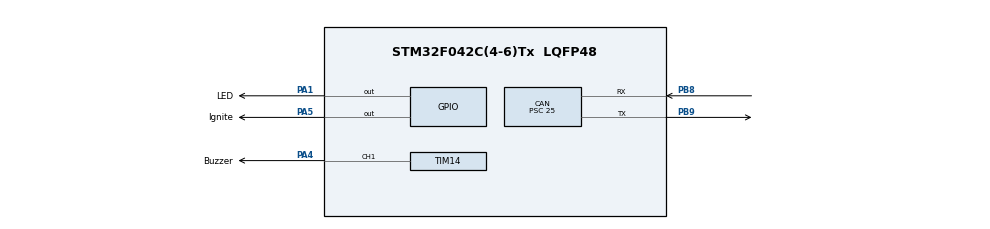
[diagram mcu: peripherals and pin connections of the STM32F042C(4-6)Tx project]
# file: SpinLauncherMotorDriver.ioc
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CAN.BS1=CAN_BS1_13TQ
CAN.BS2=CAN_BS2_2TQ
CAN.CalculateTimeQuantum=3125.0
CAN.Prescaler=25
Mcu.Family=STM32F0
Mcu.Name=STM32F042C(4-6)Tx
Mcu.Package=LQFP48
NVIC.CEC_CAN_IRQn=true\:1\:0\:true\:false\:true\:true\:true
PA1.GPIO_Label=LED
PA1.GPIO_ModeDefaultOutputPP=GPIO_MODE_OUTPUT_PP
PA1.GPIO_PuPd=GPIO_NOPULL
PA1.PinState=GPIO_PIN_RESET
PA1.Signal=GPIO_Output
PA4.GPIO_Label=Buzzer
PA4.Signal=S_TIM14_CH1
PA5.GPIO_Label=Ignite
PA5.Signal=GPIO_Output
PB8.GPIO_PuPd=GPIO_PULLUP
PB8.Mode=Master
PB8.Signal=CAN_RX
PB9.Mode=Master
PB9.Signal=CAN_TX
ProjectManager.HeapSize=0x200
ProjectManager.StackSize=0x400
ProjectManager.TargetToolchain=STM32CubeIDE
SH.S_TIM14_CH1.0=TIM14_CH1,PWM Generation1 CH1
TIM14.Channel=TIM_CHANNEL_1
TIM14.Period=1000
TIM14.Prescaler=4
VP_TIM14_VS_ClockSourceINT.Mode=Enable_Timer
board=custom

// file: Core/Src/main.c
/* USER CODE BEGIN Header */
/**
  ******************************************************************************
  * @file           : main.c
  * @brief          : Main program body
  ******************************************************************************
  * @attention
  *
  * <h2><center>&copy; Copyright (c) 2020 STMicroelectronics.
  * All rights reserved.</center></h2>
  *
  * This software component is licensed by ST under BSD 3-Clause license,
  * the "License"; You may not use this file except in compliance with the
  * License. You may obtain a copy of the License at:
  *                        opensource.org/licenses/BSD-3-Clause
  *
  ******************************************************************************
  */
/* USER CODE END Header */

#include "main.h"

CAN_HandleTypeDef hcan;

TIM_HandleTypeDef htim14;

void SystemClock_Config(void);
static void MX_GPIO_Init(void);
static void MX_CAN_Init(void);
static void MX_TIM14_Init(void);
/* USER CODE BEGIN PFP */
void CAN_Send(uint8_t *data, int length);
/* USER CODE END PFP */

/* USER CODE BEGIN 0 */
CAN_TxHeaderTypeDef   CanTxHeader;
CAN_RxHeaderTypeDef   CanRxHeader;
uint8_t               CanRxData[8];
uint32_t              CanTxMailbox;

#define ARM_PERIOD          10000
#define SEND_STATE_INTERVAL 500
#define ALIVE_INTERVAL      2000

#define LOOP_PERIOD         50

typedef enum {
	DISARMED,
	ARMED
} State;

State state     = DISARMED;
State pre_state = DISARMED;

int alive_timer      = 0;

/* USER CODE END 0 */

int main(void)
{

  /* MCU Configuration--------------------------------------------------------*/

  /* Reset of all peripherals, Initializes the Flash interface and the Systick. */
  HAL_Init();

  /* Configure the system clock */
  SystemClock_Config();

  /* Initialize all configured peripherals */
  MX_GPIO_Init();
  MX_CAN_Init();
  MX_TIM14_Init();
  /* USER CODE BEGIN 2 */

  HAL_GPIO_WritePin(Ignite_GPIO_Port, Ignite_Pin, GPIO_PIN_RESET);
  HAL_GPIO_WritePin(Buzzer_GPIO_Port, Buzzer_Pin, GPIO_PIN_RESET);

//  HAL_Delay(1000);
//
//  HAL_GPIO_WritePin(Ignite_GPIO_Port, Ignite_Pin, GPIO_PIN_SET);
//
//  HAL_Delay(1000);
//
//  HAL_GPIO_WritePin(Ignite_GPIO_Port, Ignite_Pin, GPIO_PIN_RESET);

  if (HAL_TIM_PWM_Start(&htim14, TIM_CHANNEL_1) != HAL_OK) { Error_Handler(); }

  /* USER CODE END 2 */

  /* Infinite loop */
  /* USER CODE BEGIN WHILE */
  while (1)
  {
	  // Spin
	  if (state == ARMED && pre_state != ARMED) {
		  HAL_GPIO_WritePin(Ignite_GPIO_Port, Ignite_Pin, GPIO_PIN_SET);
		  __HAL_TIM_SET_COMPARE(&htim14, TIM_CHANNEL_1, 500);
	  }

	  if (state != ARMED) {
		  HAL_GPIO_WritePin(Ignite_GPIO_Port, Ignite_Pin, GPIO_PIN_RESET);
		  if (state == ARMED) {
			  if ((alive_timer / 2) % 5 == 0)
				  __HAL_TIM_SET_COMPARE(&htim14, TIM_CHANNEL_1, 500);
			  else
				  __HAL_TIM_SET_COMPARE(&htim14, TIM_CHANNEL_1, 0);

		  }
		  else __HAL_TIM_SET_COMPARE(&htim14, TIM_CHANNEL_1, 0);
	  }

	  // Check heart beat
	  if (alive_timer > ALIVE_INTERVAL / LOOP_PERIOD) {
	 	  state = DISARMED;
	  }

	  pre_state = state;
	  alive_timer++;

	  HAL_GPIO_TogglePin(LED_GPIO_Port, LED_Pin);

	  HAL_Delay(LOOP_PERIOD);
    /* USER CODE END WHILE */

  }
}

void SystemClock_Config(void)
{
  RCC_OscInitTypeDef RCC_OscInitStruct = {0};
  RCC_ClkInitTypeDef RCC_ClkInitStruct = {0};

  /** Initializes the CPU, AHB and APB busses clocks
  */
  RCC_OscInitStruct.OscillatorType = RCC_OSCILLATORTYPE_HSI;
  RCC_OscInitStruct.HSIState = RCC_HSI_ON;
  RCC_OscInitStruct.HSICalibrationValue = RCC_HSICALIBRATION_DEFAULT;
  RCC_OscInitStruct.PLL.PLLState = RCC_PLL_NONE;
  if (HAL_RCC_OscConfig(&RCC_OscInitStruct) != HAL_OK)
  {
    Error_Handler();
  }
  /** Initializes the CPU, AHB and APB busses clocks
  */
  RCC_ClkInitStruct.ClockType = RCC_CLOCKTYPE_HCLK|RCC_CLOCKTYPE_SYSCLK
                              |RCC_CLOCKTYPE_PCLK1;
  RCC_ClkInitStruct.SYSCLKSource = RCC_SYSCLKSOURCE_HSI;
  RCC_ClkInitStruct.AHBCLKDivider = RCC_SYSCLK_DIV1;
  RCC_ClkInitStruct.APB1CLKDivider = RCC_HCLK_DIV1;

  if (HAL_RCC_ClockConfig(&RCC_ClkInitStruct, FLASH_LATENCY_0) != HAL_OK)
  {
    Error_Handler();
  }
}

static void MX_CAN_Init(void)
{

  hcan.Instance = CAN;
  hcan.Init.Prescaler = 25;
  hcan.Init.Mode = CAN_MODE_NORMAL;
  hcan.Init.SyncJumpWidth = CAN_SJW_1TQ;
  hcan.Init.TimeSeg1 = CAN_BS1_13TQ;
  hcan.Init.TimeSeg2 = CAN_BS2_2TQ;
  hcan.Init.TimeTriggeredMode = DISABLE;
  hcan.Init.AutoBusOff = DISABLE;
  hcan.Init.AutoWakeUp = DISABLE;
  hcan.Init.AutoRetransmission = DISABLE;
  hcan.Init.ReceiveFifoLocked = DISABLE;
  hcan.Init.TransmitFifoPriority = DISABLE;
  if (HAL_CAN_Init(&hcan) != HAL_OK)
  {
    Error_Handler();
  }
  /* USER CODE BEGIN CAN_Init 2 */

  // Configure Filter

  CAN_FilterTypeDef  fc;

  fc.FilterBank           = 0;
  fc.FilterMode           = CAN_FILTERMODE_IDMASK;
  fc.FilterScale          = CAN_FILTERSCALE_32BIT;
  fc.FilterIdHigh         = 0x0000;
  fc.FilterIdLow          = 0x0000;
  fc.FilterMaskIdHigh     = 0x0000;
  fc.FilterMaskIdLow      = 0x0000;
  fc.FilterFIFOAssignment = CAN_RX_FIFO0;
  fc.FilterActivation     = ENABLE;
  fc.SlaveStartFilterBank = 14;

  if (HAL_CAN_ConfigFilter(&hcan, &fc) != HAL_OK)
  {
    /* Filter configuration Error */
    Error_Handler();
  }

  if (HAL_CAN_Start(&hcan) != HAL_OK)
  {
    /* Start Error */
    Error_Handler();
  }

  if (HAL_CAN_ActivateNotification(&hcan, CAN_IT_RX_FIFO0_MSG_PENDING) != HAL_OK)
  {
    /* Notification Error */
    Error_Handler();
  }

  // Configure Transmission

  CanTxHeader.StdId = 0x14;
  CanTxHeader.RTR   = CAN_RTR_DATA;
  CanTxHeader.IDE   = CAN_ID_STD;
  CanTxHeader.TransmitGlobalTime = DISABLE;

  /* USER CODE END CAN_Init 2 */

}

static void MX_TIM14_Init(void)
{

  TIM_OC_InitTypeDef sConfigOC = {0};

  htim14.Instance = TIM14;
  htim14.Init.Prescaler = 4;
  htim14.Init.CounterMode = TIM_COUNTERMODE_UP;
  htim14.Init.Period = 1000;
  htim14.Init.ClockDivision = TIM_CLOCKDIVISION_DIV1;
  htim14.Init.AutoReloadPreload = TIM_AUTORELOAD_PRELOAD_DISABLE;
  if (HAL_TIM_Base_Init(&htim14) != HAL_OK)
  {
    Error_Handler();
  }
  if (HAL_TIM_PWM_Init(&htim14) != HAL_OK)
  {
    Error_Handler();
  }
  sConfigOC.OCMode = TIM_OCMODE_PWM1;
  sConfigOC.Pulse = 0;
  sConfigOC.OCPolarity = TIM_OCPOLARITY_HIGH;
  sConfigOC.OCFastMode = TIM_OCFAST_DISABLE;
  if (HAL_TIM_PWM_ConfigChannel(&htim14, &sConfigOC, TIM_CHANNEL_1) != HAL_OK)
  {
    Error_Handler();
  }
  HAL_TIM_MspPostInit(&htim14);

}

static void MX_GPIO_Init(void)
{
  GPIO_InitTypeDef GPIO_InitStruct = {0};

  /* GPIO Ports Clock Enable */
  __HAL_RCC_GPIOA_CLK_ENABLE();
  __HAL_RCC_GPIOB_CLK_ENABLE();

  /*Configure GPIO pin Output Level */
  HAL_GPIO_WritePin(GPIOA, LED_Pin|Ignite_Pin, GPIO_PIN_RESET);

  /*Configure GPIO pins : LED_Pin Ignite_Pin */
  GPIO_InitStruct.Pin = LED_Pin|Ignite_Pin;
  GPIO_InitStruct.Mode = GPIO_MODE_OUTPUT_PP;
  GPIO_InitStruct.Pull = GPIO_NOPULL;
  GPIO_InitStruct.Speed = GPIO_SPEED_FREQ_LOW;
  HAL_GPIO_Init(GPIOA, &GPIO_InitStruct);

}

/* USER CODE BEGIN 4 */

void CAN_Send(uint8_t *data, int length) {
	CanTxHeader.DLC = length;
	if (HAL_CAN_AddTxMessage(&hcan, &CanTxHeader, data, &CanTxMailbox) != HAL_OK) {
		/* Transmission request Error */
		Error_Handler();
	}
}

_Bool CAN_Received(uint32_t id, uint8_t *data, uint32_t length) {
	if (CanRxHeader.StdId != id)         return 0;
	if (CanRxHeader.IDE   != CAN_ID_STD) return 0;
	if (CanRxHeader.DLC   != length)     return 0;
	for (int i = 0; i < length; i++) {
		if (CanRxData[i] != data[i]) return 0;
	}
	return 1;
}

void HAL_CAN_RxFifo0MsgPendingCallback(CAN_HandleTypeDef *hcan)
{
  /* Get RX message */
  if (HAL_CAN_GetRxMessage(hcan, CAN_RX_FIFO0, &CanRxHeader, CanRxData) != HAL_OK)
  {
    /* Reception Error */
    Error_Handler();
  }

  alive_timer = 0;

  if (CAN_Received((uint32_t)0x13, (uint8_t*)"DISARM", 6)) {
	  state = DISARMED;
  }
  else if (CAN_Received((uint32_t)0x13, (uint8_t*)"ARM", 3)) {
	  state = ARMED;

  }
  else if (CAN_Received((uint32_t)0x13, (uint8_t*)"FIRE", 4)) {
	  if (state == ARMED) {
	  }
	  else {
		  state = DISARMED;
	  }
  }
}
/* USER CODE END 4 */

void Error_Handler(void)
{
}

/************************ (C) COPYRIGHT STMicroelectronics *****END OF FILE****/
